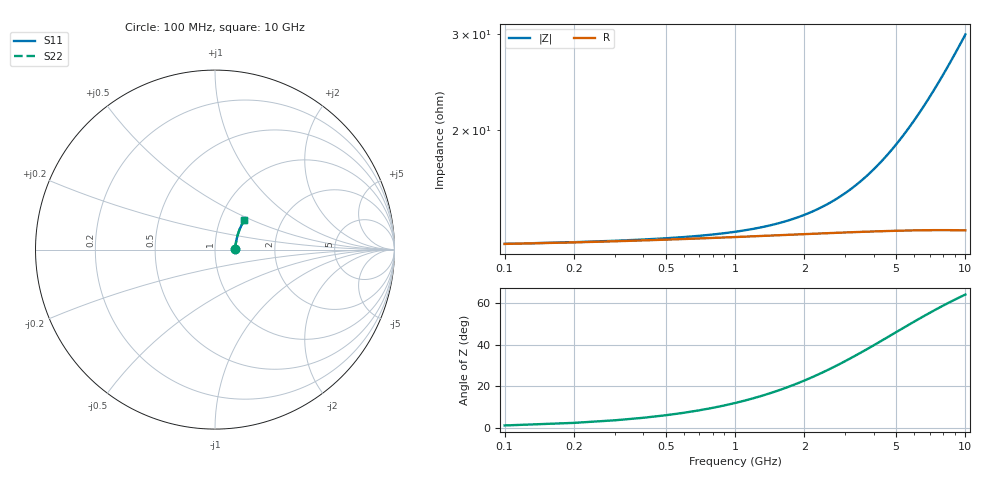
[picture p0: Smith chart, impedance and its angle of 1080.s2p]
# Hz S RI R 50.00
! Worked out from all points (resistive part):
!   100 points, 100 MHz to 10 GHz, reference 50 ohm
!   read as one part in series: R = 12.3 ohm at 100 MHz
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1e8  0.1099 0.00179  0.8901 -0.00249  0.8901 -0.00249  0.1099 0.00179
2e8  0.1106 0.00357  0.8894 -0.00498  0.8894 -0.00498  0.1106 0.00357
3e8  0.1111 0.00535  0.8889 -0.00746  0.8889 -0.00746  0.1111 0.00535
9e8  0.113 0.016  0.887 -0.0223  0.887 -0.0223  0.113 0.016
1.2e9  0.1138 0.0213  0.8861 -0.0297  0.8861 -0.0297  0.1138 0.0213
1.5e9  0.1147 0.0265  0.8853 -0.0371  0.8853 -0.0371  0.1147 0.0265
1.8e9  0.1155 0.0318  0.8844 -0.0444  0.8844 -0.0444  0.1155 0.0318
2.1e9  0.1164 0.037  0.8835 -0.0518  0.8835 -0.0518  0.1164 0.037
2.5e9  0.1176 0.044  0.8822 -0.0616  0.8822 -0.0616  0.1176 0.044
2.9e9  0.119 0.0509  0.8808 -0.0713  0.8808 -0.0713  0.119 0.0509
3.4e9  0.1208 0.0595  0.8789 -0.0834  0.8789 -0.0834  0.1208 0.0595
4.1e9  0.1237 0.0715  0.8758 -0.1003  0.8758 -0.1003  0.1237 0.0715
5.1e9  0.1286 0.0883  0.8707 -0.1241  0.8707 -0.1241  0.1286 0.0883
5.9e9  0.1331 0.1015  0.866 -0.143  0.866 -0.143  0.1331 0.1015
6.7e9  0.1381 0.1144  0.8607 -0.1615  0.8607 -0.1615  0.1381 0.1144
7.2e9  0.1415 0.1224  0.8571 -0.173  0.8571 -0.173  0.1415 0.1224
7.6e9  0.1443 0.1286  0.8541 -0.1821  0.8541 -0.1821  0.1443 0.1286
8.4e9  0.1504 0.1409  0.8477 -0.2001  0.8477 -0.2001  0.1504 0.1409
8.8e9  0.1537 0.147  0.8443 -0.2089  0.8443 -0.2089  0.1537 0.147
9.2e9  0.157 0.1529  0.8407 -0.2177  0.8407 -0.2177  0.157 0.1529
9.6e9  0.1605 0.1588  0.8371 -0.2264  0.8371 -0.2264  0.1605 0.1588
1e10  0.1641 0.1645  0.8333 -0.235  0.8333 -0.235  0.1641 0.1645
